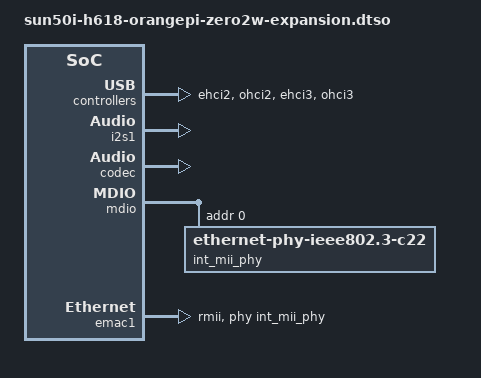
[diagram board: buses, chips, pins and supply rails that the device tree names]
/dts-v1/;
/plugin/;

#ifndef CLK_BUS_EPHY
  #define CLK_BUS_EPHY 41
#endif
#ifndef RST_BUS_EPHY
  #define RST_BUS_EPHY 22
#endif

&{/} {
	compatible = "xunlong,orangepi-zero2w", "allwinner,sun50i-h618";

	sound {
		compatible = "simple-audio-card";
		simple-audio-card,name = "Expansion-Audio";
		simple-audio-card,format = "i2s";
		simple-audio-card,mclk-fs = <256>;
		simple-audio-card,cpu {
			sound-dai = <&i2s1>;
		};
		simple-audio-card,codec {
			sound-dai = <&codec>;
		};
	};
};

/* === Expansion board extras === */

&ehci2 { status = "okay"; };
&ohci2 { status = "okay"; };
&ehci3 { status = "okay"; };
&ohci3 { status = "okay"; };

&i2s1 {
	pinctrl-names = "default";
	pinctrl-0 = <&i2s1_pins>;
	status = "okay";
};

&codec {
	allwinner,audio-routing = "Line Out", "LINEOUT";
	status = "okay";
};

/* Internal 100M EPHY on expansion board */
&mdio {
	#address-cells = <1>;
	#size-cells = <0>;

	int_mii_phy: ethernet-phy@0 {
		compatible = "ethernet-phy-ieee802.3-c22";
		reg = <0>;   /* Try <1> or <16> if PHY not found */
		clocks = <&ccu CLK_BUS_EPHY>;
		resets = <&ccu RST_BUS_EPHY>;
	};
};

&emac1 {
	compatible = "allwinner,sun50i-h616-emac", "allwinner,sun50i-h6-emac";
	pinctrl-names = "default";
	pinctrl-0 = <&rmii_pins>;
	phy-mode = "rmii";
	phy-handle = <&int_mii_phy>;
	status = "okay";
};

&usbphy {
	usb2_vbus-supply = <&reg_vcc5v>;
	usb3_vbus-supply = <&reg_vcc5v>;
};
